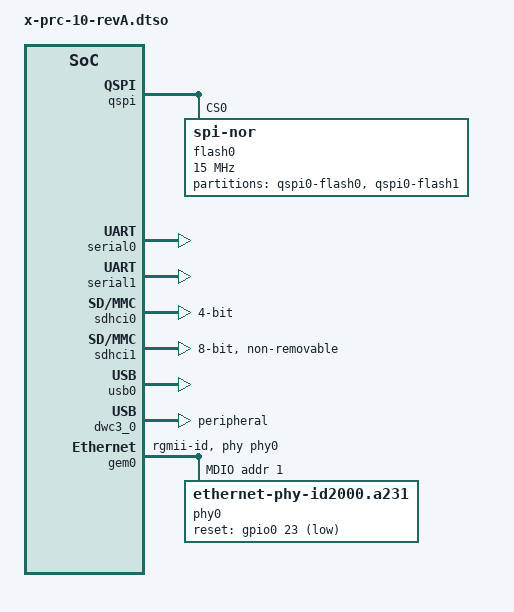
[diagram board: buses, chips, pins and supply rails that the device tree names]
// SPDX-License-Identifier: GPL-2.0
/*
 * dts file for Xilinx X-PRC-10 RevA
 *
 * (C) Copyright 2024 - 2025, Advanced Micro Devices, Inc.
 *
 * Michal Simek <michal.simek@amd.com>
 */

/* likely defaults to have usb/gem */
#define J336	1
#define J340	0

/dts-v1/;
/plugin/;

#include <dt-bindings/gpio/gpio.h>
#include <dt-bindings/net/ti-dp83867.h>

&{/} {
	model = "X-PRC-10 revA";
};

&gpio0 {
	status = "okay";
};

&qspi { /* PMC_MIO0-12 - dual stack/dual parallel */
	status = "okay";
	#size-cells = <0>;
	#address-cells = <1>;
	num-cs = <2>;
	/* reset-gpios = <&gpio0 22 0>; */

	flash0: flash@0 { /* u416/u414/u415/u417 */
		compatible = "jedec,spi-nor";	/* check maximum frequency from datasheet */
		spi-max-frequency = <15000000>;
		spi-rx-bus-width = <4>;
		spi-tx-bus-width = <4>;
		parallel-memories = <0 0x8000000>, <0 0x8000000>;
		reg = <0>, <1>;

		partitions {
			#size-cells = <1>;
			#address-cells = <1>;
			compatible = "fixed-partitions";

			partition@0 {
				reg = <0 0x200000>;
				label = "qspi0-flash0";
			};

			partition@1 {
				reg = <0x200000 0x7e00000>;
				label = "qspi0-flash1";
			};
		};
	};
};

&serial0 { /* LPD_MIO16-17 */
	status = "okay";
};

&serial1 { /* LPD_MIO20-21 */
	status = "okay";
};

&sdhci0 { /* PMC_MIO27-32, WP PMC_MIO38, CD PMC_MIO37 */
	status = "okay";
	bus-width = <4>;
	xlnx,mio-bank = <0>;
};

&sdhci1 { /* PMC_MIO40-51 */
	status = "okay";
	bus-width = <8>;
	disable-wp;
	non-removable;
	no-sd;
	no-sdio;
	cap-mmc-hw-reset;
	xlnx,mio-bank = <0>;
	no-mmc-hs400; /* FIXME */
};

#if J336 /* 1-2 shorted */
	&usb0 { /* PMC_MIO14-25 */
		status = "okay";
	};

	&dwc3_0 {
		status = "okay";
		dr_mode = "peripheral";
		maximum-speed = "high-speed";
	};
#else /* J336 */
	&can0 { /* PMC_MIO16-17 */
		status = "okay";
	};

	&can1 { /* PMC_MIO18-19 */
		status = "okay";
	};

	&can2 { /* PMC_MIO20-21 */
		status = "okay";
	};

	&can3 { /* PMC_MIO22-23 */
		status = "okay";
	};

	&ufshc { /* PMC_MIO24-25 but via J336 */
		status = "okay";
	};

#endif /* J336 */

#if J340 /* 3-5, 4-6 shorted */
	&i2c1 { /* LPD_MIO24-25 (but J340 can block it) FIXME not sure about controller */
		status = "okay";
		#address-cells = <1>;
		#size-cells = <0>;
		eeprom_x0: eeprom@55 { /* u46 */
			compatible = "atmel,24c128";
			reg = <0x55>;
		};
	};
#else /* J340 - 1-3, 2-4 shorted */
	&gem0 { /* LPD_MIO0-11, MDIO LPD_MIO24-25 (but J340 can block it) */
		status = "okay";
		phy-handle = <&phy0>;
		phy-mode = "rgmii-id";

		mdio: mdio {
			#address-cells = <1>;
			#size-cells = <0>;

			phy0: ethernet-phy@1 { /* u128 */
				#phy-cells = <1>;
				reg = <1>;
				compatible = "ethernet-phy-id2000.a231";
				ti,rx-internal-delay = <DP83867_RGMIIDCTL_2_25_NS>;
				ti,tx-internal-delay = <DP83867_RGMIIDCTL_2_75_NS>;
				ti,fifo-depth = <DP83867_PHYCR_FIFO_DEPTH_4_B_NIB>;
				ti,dp83867-rxctrl-strap-quirk;
				reset-assert-us = <100>;
				reset-deassert-us = <280>;
				reset-gpios = <&gpio0 23 GPIO_ACTIVE_LOW>;
			};
		};
	};
#endif
